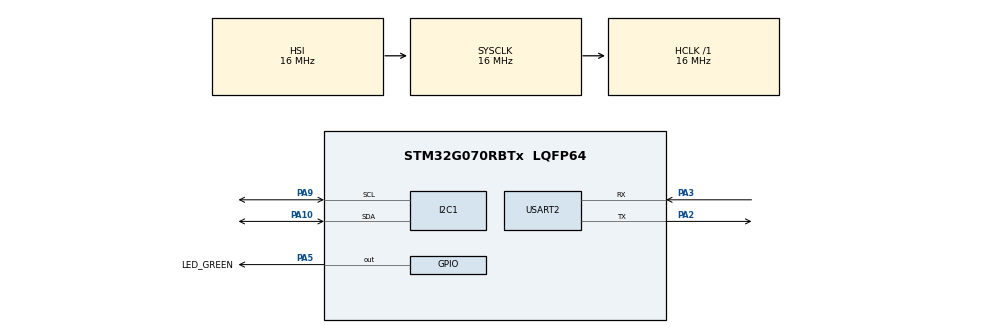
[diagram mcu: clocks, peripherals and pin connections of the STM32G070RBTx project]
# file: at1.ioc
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Mcu.Family=STM32G0
Mcu.Name=STM32G070RBTx
Mcu.Package=LQFP64
PA10.Mode=I2C
PA10.Signal=I2C1_SDA
PA13.GPIO_Label=TMS
PA13.Mode=Serial_Wire
PA13.Signal=SYS_SWDIO
PA14-BOOT0.GPIO_Label=TCK
PA14-BOOT0.Mode=Serial_Wire
PA14-BOOT0.Signal=SYS_SWCLK
PA2.GPIO_PuPd=GPIO_PULLUP
PA2.Mode=Asynchronous
PA2.Signal=USART2_TX
PA3.GPIO_PuPd=GPIO_PULLUP
PA3.Mode=Asynchronous
PA3.Signal=USART2_RX
PA5.GPIO_Label=LED_GREEN
PA5.GPIO_Speed=GPIO_SPEED_FREQ_HIGH
PA5.Signal=GPIO_Output
PA9.Mode=I2C
PA9.Signal=I2C1_SCL
PC13.Mode=SYS_WakeUp1
PC13.Signal=SYS_WKUP2
PC14-OSC32_IN\ (PC14).Mode=LSE-External-Oscillator
PC14-OSC32_IN\ (PC14).Signal=RCC_OSC32_IN
PC15-OSC32_OUT\ (PC15).Mode=LSE-External-Oscillator
PC15-OSC32_OUT\ (PC15).Signal=RCC_OSC32_OUT
PF0-OSC_IN\ (PF0).GPIO_Label=MCO
PF0-OSC_IN\ (PF0).Mode=HSE-External-Clock-Source
PF0-OSC_IN\ (PF0).Signal=RCC_OSC_IN
ProjectManager.HeapSize=0x200
ProjectManager.StackSize=0x400
ProjectManager.TargetToolchain=STM32CubeIDE
RCC.AHBFreq_Value=16000000
RCC.CortexFreq_Value=16000000
RCC.EXTERNAL_CLOCK_VALUE=12288000
RCC.HCLKFreq_Value=16000000
RCC.HSE_VALUE=8000000
RCC.HSI_VALUE=16000000
RCC.SYSCLKFreq_VALUE=16000000
RCC.VCOOutputFreq_Value=128000000
USART2.VirtualMode-Asynchronous=VM_ASYNC
USART2.WordLength=WORDLENGTH_8B
board=NUCLEO-G070RB

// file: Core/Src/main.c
/* USER CODE BEGIN Header */
/**
  ******************************************************************************
  * @file           : main.c
  * @brief          : Main program body
  ******************************************************************************
  * @attention
  *
  * Copyright (c) 2023 STMicroelectronics.
  * All rights reserved.
  *
  * This software is licensed under terms that can be found in the LICENSE file
  * in the root directory of this software component.
  * If no LICENSE file comes with this software, it is provided AS-IS.
  *
  ******************************************************************************
  */
/* USER CODE END Header */
#include "main.h"

/* USER CODE BEGIN Includes */
#include <string.h>
#include <stdio.h>
#include "log.h"
#include "mpu6050.h"
/* USER CODE END Includes */

I2C_HandleTypeDef hi2c1;

UART_HandleTypeDef huart2;

void SystemClock_Config(void);
static void MX_GPIO_Init(void);
static void MX_USART2_UART_Init(void);
static void MX_I2C1_Init(void);

int main(void)
{
  /* USER CODE BEGIN 1 */
  mpu6050_cfg_t mpu6050_cfg;
  mpu6050_data_t mpu6050_data;
  /* USER CODE END 1 */

  /* MCU Configuration--------------------------------------------------------*/

  /* Reset of all peripherals, Initializes the Flash interface and the Systick. */
  HAL_Init();

  /* Configure the system clock */
  SystemClock_Config();

  /* Initialize all configured peripherals */
  MX_GPIO_Init();
  MX_USART2_UART_Init();
  MX_I2C1_Init();
  /* USER CODE BEGIN 2 */
  log_init(&huart2, LOG_LEVEL_INFO);
  mpu6050_init(&mpu6050_cfg, &hi2c1);
  log_info("Initialized MPU6050 accel_scaler=%lf, gyro_scaler=%lf, accel_offset=(x:%lf, y:%lf, z:%lf), gyro_offset=(x:%lf, y:%lf, z:%lf)",
      mpu6050_cfg.accel_scaler,
      mpu6050_cfg.gyro_scaler,
      mpu6050_cfg.offset.accel_x,
      mpu6050_cfg.offset.accel_y,
      mpu6050_cfg.offset.accel_z,
      mpu6050_cfg.offset.gyro_x,
      mpu6050_cfg.offset.gyro_y,
      mpu6050_cfg.offset.gyro_z);
  /* USER CODE END 2 */

  /* Infinite loop */
  /* USER CODE BEGIN WHILE */
  while (1)
  {
	mpu6050_read(&mpu6050_cfg, &mpu6050_data);
	log_info("Accel(X:%lf, Y:%lf, Z:%lf), Temp:%lf, Gyro(X:%lf, Y:%lf, Z:%lf)\r\n",
			mpu6050_data.accel_x, mpu6050_data.accel_y, mpu6050_data.accel_z,
			mpu6050_data.temperature,
			mpu6050_data.gyro_x, mpu6050_data.gyro_y, mpu6050_data.gyro_z);
    /* USER CODE END WHILE */

  }
}

void SystemClock_Config(void)
{
  RCC_OscInitTypeDef RCC_OscInitStruct = {0};
  RCC_ClkInitTypeDef RCC_ClkInitStruct = {0};

  /** Configure the main internal regulator output voltage
  */
  HAL_PWREx_ControlVoltageScaling(PWR_REGULATOR_VOLTAGE_SCALE1);

  /** Initializes the RCC Oscillators according to the specified parameters
  * in the RCC_OscInitTypeDef structure.
  */
  RCC_OscInitStruct.OscillatorType = RCC_OSCILLATORTYPE_HSI;
  RCC_OscInitStruct.HSIState = RCC_HSI_ON;
  RCC_OscInitStruct.HSIDiv = RCC_HSI_DIV1;
  RCC_OscInitStruct.HSICalibrationValue = RCC_HSICALIBRATION_DEFAULT;
  RCC_OscInitStruct.PLL.PLLState = RCC_PLL_NONE;
  if (HAL_RCC_OscConfig(&RCC_OscInitStruct) != HAL_OK)
  {
    Error_Handler();
  }

  /** Initializes the CPU, AHB and APB buses clocks
  */
  RCC_ClkInitStruct.ClockType = RCC_CLOCKTYPE_HCLK|RCC_CLOCKTYPE_SYSCLK
                              |RCC_CLOCKTYPE_PCLK1;
  RCC_ClkInitStruct.SYSCLKSource = RCC_SYSCLKSOURCE_HSI;
  RCC_ClkInitStruct.AHBCLKDivider = RCC_SYSCLK_DIV1;
  RCC_ClkInitStruct.APB1CLKDivider = RCC_HCLK_DIV1;

  if (HAL_RCC_ClockConfig(&RCC_ClkInitStruct, FLASH_LATENCY_0) != HAL_OK)
  {
    Error_Handler();
  }
}

static void MX_I2C1_Init(void)
{

  hi2c1.Instance = I2C1;
  hi2c1.Init.Timing = 0x00303D5B;
  hi2c1.Init.OwnAddress1 = 0;
  hi2c1.Init.AddressingMode = I2C_ADDRESSINGMODE_7BIT;
  hi2c1.Init.DualAddressMode = I2C_DUALADDRESS_DISABLE;
  hi2c1.Init.OwnAddress2 = 0;
  hi2c1.Init.OwnAddress2Masks = I2C_OA2_NOMASK;
  hi2c1.Init.GeneralCallMode = I2C_GENERALCALL_DISABLE;
  hi2c1.Init.NoStretchMode = I2C_NOSTRETCH_DISABLE;
  if (HAL_I2C_Init(&hi2c1) != HAL_OK)
  {
    Error_Handler();
  }

  /** Configure Analogue filter
  */
  if (HAL_I2CEx_ConfigAnalogFilter(&hi2c1, I2C_ANALOGFILTER_ENABLE) != HAL_OK)
  {
    Error_Handler();
  }

  /** Configure Digital filter
  */
  if (HAL_I2CEx_ConfigDigitalFilter(&hi2c1, 0) != HAL_OK)
  {
    Error_Handler();
  }

}

static void MX_USART2_UART_Init(void)
{

  huart2.Instance = USART2;
  huart2.Init.BaudRate = 115200;
  huart2.Init.WordLength = UART_WORDLENGTH_8B;
  huart2.Init.StopBits = UART_STOPBITS_1;
  huart2.Init.Parity = UART_PARITY_NONE;
  huart2.Init.Mode = UART_MODE_TX_RX;
  huart2.Init.HwFlowCtl = UART_HWCONTROL_NONE;
  huart2.Init.OverSampling = UART_OVERSAMPLING_16;
  huart2.Init.OneBitSampling = UART_ONE_BIT_SAMPLE_DISABLE;
  huart2.Init.ClockPrescaler = UART_PRESCALER_DIV1;
  huart2.AdvancedInit.AdvFeatureInit = UART_ADVFEATURE_NO_INIT;
  if (HAL_UART_Init(&huart2) != HAL_OK)
  {
    Error_Handler();
  }
  if (HAL_UARTEx_SetTxFifoThreshold(&huart2, UART_TXFIFO_THRESHOLD_1_8) != HAL_OK)
  {
    Error_Handler();
  }
  if (HAL_UARTEx_SetRxFifoThreshold(&huart2, UART_RXFIFO_THRESHOLD_1_8) != HAL_OK)
  {
    Error_Handler();
  }
  if (HAL_UARTEx_DisableFifoMode(&huart2) != HAL_OK)
  {
    Error_Handler();
  }

}

static void MX_GPIO_Init(void)
{
  GPIO_InitTypeDef GPIO_InitStruct = {0};

  /* GPIO Ports Clock Enable */
  __HAL_RCC_GPIOC_CLK_ENABLE();
  __HAL_RCC_GPIOF_CLK_ENABLE();
  __HAL_RCC_GPIOA_CLK_ENABLE();

  /*Configure GPIO pin Output Level */
  HAL_GPIO_WritePin(LED_GREEN_GPIO_Port, LED_GREEN_Pin, GPIO_PIN_RESET);

  /*Configure GPIO pin : LED_GREEN_Pin */
  GPIO_InitStruct.Pin = LED_GREEN_Pin;
  GPIO_InitStruct.Mode = GPIO_MODE_OUTPUT_PP;
  GPIO_InitStruct.Pull = GPIO_NOPULL;
  GPIO_InitStruct.Speed = GPIO_SPEED_FREQ_HIGH;
  HAL_GPIO_Init(LED_GREEN_GPIO_Port, &GPIO_InitStruct);

}

void Error_Handler(void)
{
  __disable_irq();
  while (1)
  {
  }
}
